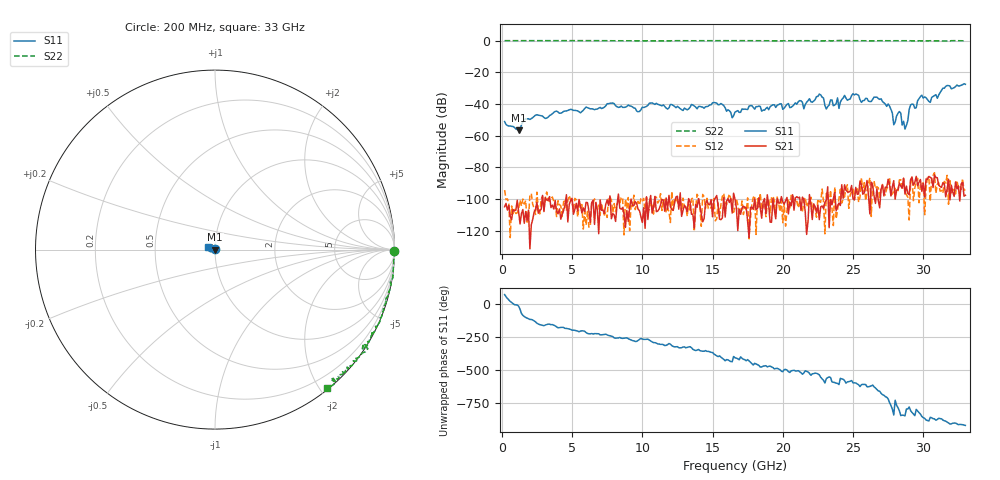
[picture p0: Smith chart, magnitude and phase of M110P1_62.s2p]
# GHZ S RI R 50
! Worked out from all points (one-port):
!   329 points, 200 MHz to 33 GHz, reference 50 ohm
!   lowest |S11| = -56.5 dB at 1.2 GHz (marker M1), VSWR 1.00, Z = 50.1 - j0.0353 ohm
!   |S11| at or under -10 dB: start of sweep to end of sweep
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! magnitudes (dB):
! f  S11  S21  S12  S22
! 200 MHz  -51.1  -105.0  -94.4  0.0
! 1.2 GHz  -56.5  -108.1  -106.4  0.0
! 2.4 GHz  -47.1  -106.8  -109.8  0.0
! 5.7 GHz  -44.8  -108.8  -103.6  0.0
! 11.2 GHz  -40.5  -106.3  -101.1  0.0
! 16.6 GHz  -45.1  -100.2  -104.9  0.0
! 22.1 GHz  -39.0  -113.0  -105.8  0.0
! 22.6 GHz  -33.8  -113.1  -101.6  -0.1
! 23.1 GHz  -43.2  -100.7  -96.6  0.0
! 23.9 GHz  -36.2  -104.7  -106.9  0.0
! 24 GHz  -42.8  -102.6  -99.9  0.1
! 25 GHz  -33.6  -99.9  -93.8  0.0
! 27.6 GHz  -41.4  -90.6  -86.5  0.0
! 27.9 GHz  -53.1  -88.5  -95.3  -0.1
! 28.3 GHz  -44.8  -90.0  -88.0  -0.1
! 28.7 GHz  -55.9  -96.9  -95.5  -0.1
! 29.1 GHz  -40.6  -87.8  -88.9  0.0
! 29.5 GHz  -42.4  -85.7  -88.7  -0.1
! 29.9 GHz  -34.5  -95.3  -90.0  -0.1
! 30.5 GHz  -39.0  -86.4  -101.5  0.0
! 31.7 GHz  -28.4  -93.6  -85.1  -0.2
! 33 GHz  -27.6  -97.7  -94.3  -0.1
